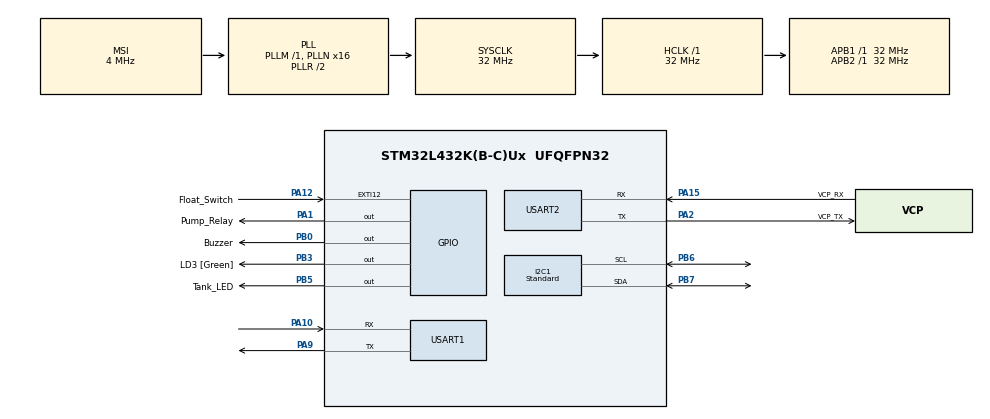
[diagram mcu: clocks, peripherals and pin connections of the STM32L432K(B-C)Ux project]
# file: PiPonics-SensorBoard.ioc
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Mcu.Family=STM32L4
VP_SYS_VS_tim6.Mode=TIM6
RCC.CortexFreq_Value=32000000
FREERTOS.BinarySemaphores01=UARTSemaphore,Dynamic,NULL;overflowSemaphore,Dynamic,NULL;I2CSemaphore,Dynamic,NULL
NVIC.DMA1_Channel5_IRQn=true\:6\:0\:true\:false\:true\:true\:false\:true
NVIC.I2C1_EV_IRQn=true\:8\:0\:true\:false\:true\:true\:true\:true
I2C1.I2C_Speed_Mode=I2C_Standard
Dma.USART1_TX.1.MemInc=DMA_MINC_ENABLE
NVIC.TIM6_DAC_IRQn=true\:0\:0\:false\:false\:true\:false\:false\:true
PA0.GPIO_Label=MCO [High speed clock in]
PB0.GPIO_Label=Buzzer
PA15\ (JTDI).Signal=USART2_RX
PC15-OSC32_OUT\ (PC15).Mode=LSE-External-Oscillator
RCC.SYSCLKSource=RCC_SYSCLKSOURCE_PLLCLK
ProjectManager.StackSize=0x400
PB3\ (JTDO-TRACESWO).Signal=GPIO_Output
PC14-OSC32_IN\ (PC14).Mode=LSE-External-Oscillator
VP_FREERTOS_VS_CMSIS_V2.Mode=CMSIS_V2
PA14\ (JTCK-SWCLK).Signal=SYS_JTCK-SWCLK
FREERTOS.configENABLE_FPU=1
PA15\ (JTDI).Mode=Asynchronous
PA12.Signal=GPXTI12
RCC.HCLKFreq_Value=32000000
RCC.APB2TimFreq_Value=32000000
PB6.Signal=I2C1_SCL
PB6.Mode=I2C
RCC.AHBFreq_Value=32000000
Dma.USART1_RX.0.Priority=DMA_PRIORITY_LOW
NVIC.EXTI15_10_IRQn=true\:5\:0\:false\:false\:true\:true\:true\:true
RCC.HSE_VALUE=8000000
USART2.VirtualMode-Asynchronous=VM_ASYNC
RCC.PLLMUL=RCC_PLLMUL_4
PA0.Mode=HSE-External-Clock-Source-for-LittleOrca
PB7.Signal=I2C1_SDA
Dma.USART1_RX.0.MemInc=DMA_MINC_ENABLE
NVIC.I2C1_ER_IRQn=true\:5\:0\:false\:false\:true\:true\:true\:true
FREERTOS.configTOTAL_HEAP_SIZE=6000
Dma.USART1_TX.1.PeriphDataAlignment=DMA_PDATAALIGN_BYTE
PA0.Signal=RCC_CK_IN
Mcu.Package=UFQFPN32
NVIC.TimeBase=TIM6_DAC_IRQn
PA2.GPIO_Label=VCP_TX
NVIC.TimeBaseIP=TIM6
PA10.Signal=USART1_RX
PB5.GPIO_Label=Tank_LED
Dma.Request1=USART1_TX
RCC.APB1TimFreq_Value=32000000
Dma.USART1_RX.0.Mode=DMA_NORMAL
Dma.USART1_TX.1.Priority=DMA_PRIORITY_LOW
NVIC.DMA1_Channel4_IRQn=true\:7\:0\:true\:false\:true\:true\:false\:true
PA13\ (JTMS-SWDIO).Signal=SYS_JTMS-SWDIO
NVIC.USART1_IRQn=true\:6\:0\:true\:false\:true\:true\:true\:true
PA12.GPIO_PuPd=GPIO_PULLUP
Dma.Request0=USART1_RX
Dma.USART1_RX.0.Instance=DMA1_Channel5
RCC.HSI48_VALUE=48000000
Dma.USART1_TX.1.Direction=DMA_MEMORY_TO_PERIPH
RCC.MSI_VALUE=4000000
PA14\ (JTCK-SWCLK).Mode=Serial_Wire
Dma.USART1_TX.1.Instance=DMA1_Channel4
FREERTOS.Tasks01=defaultTask,8,128,StartDefaultTask,Default,NULL,Dynamic,NULL,NULL;receiveUART,24,512,StartReceiveUART,Default,NULL,Dynamic,NULL,NULL;detectOverflow,40,128,StartDetectOverflow,Default,NULL,Dynamic,NULL,NULL
Dma.USART1_RX.0.PeriphDataAlignment=DMA_PDATAALIGN_BYTE
PA10.Mode=Asynchronous
PC15-OSC32_OUT\ (PC15).Signal=RCC_OSC32_OUT
PA14\ (JTCK-SWCLK).GPIO_Label=SWCLK
PB3\ (JTDO-TRACESWO).GPIO_Label=LD3 [Green]
PA12.GPIO_Label=Float_Switch
USART1.VirtualMode-Asynchronous=VM_ASYNC
RCC.HSI16_VALUE=16000000
PA9.Mode=Asynchronous
ProjectManager.TargetToolchain=STM32CubeIDE
Dma.USART1_RX.0.Direction=DMA_PERIPH_TO_MEMORY
PA9.Signal=USART1_TX
I2C1.Timing=0x00707CBB
PA1.Signal=GPIO_Output
Dma.USART1_RX.0.PeriphInc=DMA_PINC_DISABLE
Dma.USART1_TX.1.MemDataAlignment=DMA_MDATAALIGN_BYTE
board=NUCLEO-L432KC
RCC.VCOOutputFreq_Value=64000000
RCC.APB2Freq_Value=32000000
PA13\ (JTMS-SWDIO).GPIO_Label=SWDIO
PA1.GPIO_Label=Pump_Relay
Dma.USART1_RX.0.MemDataAlignment=DMA_MDATAALIGN_BYTE
PA15\ (JTDI).GPIO_Label=VCP_RX
Mcu.Name=STM32L432K(B-C)Ux
PA2.Signal=USART2_TX
PA13\ (JTMS-SWDIO).Mode=Serial_Wire
RCC.SYSCLKFreq_VALUE=32000000
PB5.Signal=GPIO_Output
PC14-OSC32_IN\ (PC14).Signal=RCC_OSC32_IN
Dma.USART1_TX.1.Mode=DMA_NORMAL
PB7.Mode=I2C
ProjectManager.HeapSize=0x200
Dma.USART1_TX.1.PeriphInc=DMA_PINC_DISABLE
RCC.HSI_VALUE=16000000
NVIC.PriorityGroup=NVIC_PRIORITYGROUP_4
RCC.PLLN=16
PA2.Mode=Asynchronous
RCC.APB1Freq_Value=32000000
PB0.Signal=GPIO_Output

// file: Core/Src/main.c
/* USER CODE BEGIN Header */
/**
  ******************************************************************************
  * @file           : main.c
  * @brief          : Main program body
  ******************************************************************************
  * @attention
  *
  * <h2><center>&copy; Copyright (c) 2021 STMicroelectronics.
  * All rights reserved.</center></h2>
  *
  * This software component is licensed by ST under BSD 3-Clause license,
  * the "License"; You may not use this file except in compliance with the
  * License. You may obtain a copy of the License at:
  *                        opensource.org/licenses/BSD-3-Clause
  *
  ******************************************************************************
  */
/* USER CODE END Header */
#include "main.h"
#include "cmsis_os.h"

/* USER CODE BEGIN Includes */
#include <stdio.h>
#include <string.h>

#include "ezo_sensor.h"

/* USER CODE END Includes */

/* USER CODE BEGIN PD */

#ifdef __GNUC__
#define PUTCHAR_PROTOTYPE int __io_putchar(int ch)
#else
#define PUTCHAR_PROTOTYPE int fputc(int ch, FILE *f)
#endif /* __GNUC__ */
// Pi UART
#define PI_UART_BUFFER_SZ		(uint8_t) 6
#define CMD_IDX					(uint8_t) 0
#define ITEM_IDX				(uint8_t) 1
#define PAYLOAD_START_IDX		(uint8_t) 2		// payload is 4 bytes
// Buzzer
#define BUZZER_DELAY_MS			5000U
#define BUZZER_ON_MS			250U

/* USER CODE END PD */

I2C_HandleTypeDef hi2c1;

UART_HandleTypeDef huart1;
UART_HandleTypeDef huart2;
DMA_HandleTypeDef hdma_usart1_rx;
DMA_HandleTypeDef hdma_usart1_tx;

/* Definitions for defaultTask */
osThreadId_t defaultTaskHandle;
const osThreadAttr_t defaultTask_attributes = {
  .name = "defaultTask",
  .stack_size = 128 * 4,
  .priority = (osPriority_t) osPriorityLow,
};
/* Definitions for receiveUART */
osThreadId_t receiveUARTHandle;
const osThreadAttr_t receiveUART_attributes = {
  .name = "receiveUART",
  .stack_size = 512 * 4,
  .priority = (osPriority_t) osPriorityNormal,
};
/* Definitions for detectOverflow */
osThreadId_t detectOverflowHandle;
const osThreadAttr_t detectOverflow_attributes = {
  .name = "detectOverflow",
  .stack_size = 128 * 4,
  .priority = (osPriority_t) osPriorityHigh,
};
/* Definitions for UARTSemaphore */
osSemaphoreId_t UARTSemaphoreHandle;
const osSemaphoreAttr_t UARTSemaphore_attributes = {
  .name = "UARTSemaphore"
};
/* Definitions for overflowSemaphore */
osSemaphoreId_t overflowSemaphoreHandle;
const osSemaphoreAttr_t overflowSemaphore_attributes = {
  .name = "overflowSemaphore"
};
/* Definitions for I2CSemaphore */
osSemaphoreId_t I2CSemaphoreHandle;
const osSemaphoreAttr_t I2CSemaphore_attributes = {
  .name = "I2CSemaphore"
};
/* USER CODE BEGIN PV */

// UART buffer for communication w/ Raspberry Pi
uint8_t piUartBuffer[PI_UART_BUFFER_SZ];

enum piCmds {
	Echo	= 0xF0,
	Drive	= 0x0F,
	Read	= 0x88
} piCmd;

typedef enum {
	TankLights			= 0,
	GrowBedWaterPump	= 1,
	// test case
	Ret0				= 0xFF,
	Ret1				= 0xFE
} Actuator;

typedef enum {
	TankTemp			= 0,
	GrowBedWaterLevel	= 1,
	// test case
	RetPi				= 0xFF
} Sensor;

/* USER CODE END PV */

void SystemClock_Config(void);
static void MX_GPIO_Init(void);
static void MX_DMA_Init(void);
static void MX_USART2_UART_Init(void);
static void MX_USART1_UART_Init(void);
static void MX_I2C1_Init(void);
void StartDefaultTask(void *argument);
void StartReceiveUART(void *argument);
void StartDetectOverflow(void *argument);

int main(void)
{

  /* MCU Configuration--------------------------------------------------------*/

  /* Reset of all peripherals, Initializes the Flash interface and the Systick. */
  HAL_Init();

  /* Configure the system clock */
  SystemClock_Config();

  /* Initialize all configured peripherals */
  MX_GPIO_Init();
  MX_DMA_Init();
  MX_USART2_UART_Init();
  MX_USART1_UART_Init();
  MX_I2C1_Init();
  /* USER CODE BEGIN 2 */
  printf("START\n\r");

  // Pi UART Rx DMA init
  if (HAL_UART_Receive_DMA(&huart1, &piUartBuffer[0], PI_UART_BUFFER_SZ) != HAL_OK) {
	Error_Handler();
  }

  /* USER CODE END 2 */

  /* Init scheduler */
  osKernelInitialize();

  /* Create the semaphores(s) */
  /* creation of UARTSemaphore */
  UARTSemaphoreHandle = osSemaphoreNew(1, 1, &UARTSemaphore_attributes);

  /* creation of overflowSemaphore */
  overflowSemaphoreHandle = osSemaphoreNew(1, 1, &overflowSemaphore_attributes);

  /* creation of I2CSemaphore */
  I2CSemaphoreHandle = osSemaphoreNew(1, 1, &I2CSemaphore_attributes);

  /* USER CODE BEGIN RTOS_SEMAPHORES */
  /* add semaphores, ... */
  osSemaphoreAcquire(UARTSemaphoreHandle, 0);
  osSemaphoreAcquire(overflowSemaphoreHandle, 0);
  osSemaphoreAcquire(I2CSemaphoreHandle, 0);
  /* USER CODE END RTOS_SEMAPHORES */

  /* Create the thread(s) */
  /* creation of defaultTask */
  defaultTaskHandle = osThreadNew(StartDefaultTask, NULL, &defaultTask_attributes);

  /* creation of receiveUART */
  receiveUARTHandle = osThreadNew(StartReceiveUART, NULL, &receiveUART_attributes);

  /* creation of detectOverflow */
  detectOverflowHandle = osThreadNew(StartDetectOverflow, NULL, &detectOverflow_attributes);

  /* Start scheduler */
  osKernelStart();

  /* We should never get here as control is now taken by the scheduler */
  /* Infinite loop */
  while (1)
  {

  }
}

void SystemClock_Config(void)
{
  RCC_OscInitTypeDef RCC_OscInitStruct = {0};
  RCC_ClkInitTypeDef RCC_ClkInitStruct = {0};
  RCC_PeriphCLKInitTypeDef PeriphClkInit = {0};

  /** Configure LSE Drive Capability
  */
  HAL_PWR_EnableBkUpAccess();
  __HAL_RCC_LSEDRIVE_CONFIG(RCC_LSEDRIVE_LOW);
  /** Initializes the RCC Oscillators according to the specified parameters
  * in the RCC_OscInitTypeDef structure.
  */
  RCC_OscInitStruct.OscillatorType = RCC_OSCILLATORTYPE_LSE|RCC_OSCILLATORTYPE_MSI;
  RCC_OscInitStruct.LSEState = RCC_LSE_ON;
  RCC_OscInitStruct.MSIState = RCC_MSI_ON;
  RCC_OscInitStruct.MSICalibrationValue = 0;
  RCC_OscInitStruct.MSIClockRange = RCC_MSIRANGE_6;
  RCC_OscInitStruct.PLL.PLLState = RCC_PLL_ON;
  RCC_OscInitStruct.PLL.PLLSource = RCC_PLLSOURCE_MSI;
  RCC_OscInitStruct.PLL.PLLM = 1;
  RCC_OscInitStruct.PLL.PLLN = 16;
  RCC_OscInitStruct.PLL.PLLP = RCC_PLLP_DIV7;
  RCC_OscInitStruct.PLL.PLLQ = RCC_PLLQ_DIV2;
  RCC_OscInitStruct.PLL.PLLR = RCC_PLLR_DIV2;
  if (HAL_RCC_OscConfig(&RCC_OscInitStruct) != HAL_OK)
  {
    Error_Handler();
  }
  /** Initializes the CPU, AHB and APB buses clocks
  */
  RCC_ClkInitStruct.ClockType = RCC_CLOCKTYPE_HCLK|RCC_CLOCKTYPE_SYSCLK
                              |RCC_CLOCKTYPE_PCLK1|RCC_CLOCKTYPE_PCLK2;
  RCC_ClkInitStruct.SYSCLKSource = RCC_SYSCLKSOURCE_PLLCLK;
  RCC_ClkInitStruct.AHBCLKDivider = RCC_SYSCLK_DIV1;
  RCC_ClkInitStruct.APB1CLKDivider = RCC_HCLK_DIV1;
  RCC_ClkInitStruct.APB2CLKDivider = RCC_HCLK_DIV1;

  if (HAL_RCC_ClockConfig(&RCC_ClkInitStruct, FLASH_LATENCY_1) != HAL_OK)
  {
    Error_Handler();
  }
  PeriphClkInit.PeriphClockSelection = RCC_PERIPHCLK_USART1|RCC_PERIPHCLK_USART2
                              |RCC_PERIPHCLK_I2C1;
  PeriphClkInit.Usart1ClockSelection = RCC_USART1CLKSOURCE_PCLK2;
  PeriphClkInit.Usart2ClockSelection = RCC_USART2CLKSOURCE_PCLK1;
  PeriphClkInit.I2c1ClockSelection = RCC_I2C1CLKSOURCE_PCLK1;
  if (HAL_RCCEx_PeriphCLKConfig(&PeriphClkInit) != HAL_OK)
  {
    Error_Handler();
  }
  /** Configure the main internal regulator output voltage
  */
  if (HAL_PWREx_ControlVoltageScaling(PWR_REGULATOR_VOLTAGE_SCALE1) != HAL_OK)
  {
    Error_Handler();
  }
  /** Enable MSI Auto calibration
  */
  HAL_RCCEx_EnableMSIPLLMode();
}

static void MX_I2C1_Init(void)
{

  hi2c1.Instance = I2C1;
  hi2c1.Init.Timing = 0x00707CBB;
  hi2c1.Init.OwnAddress1 = 0;
  hi2c1.Init.AddressingMode = I2C_ADDRESSINGMODE_7BIT;
  hi2c1.Init.DualAddressMode = I2C_DUALADDRESS_DISABLE;
  hi2c1.Init.OwnAddress2 = 0;
  hi2c1.Init.OwnAddress2Masks = I2C_OA2_NOMASK;
  hi2c1.Init.GeneralCallMode = I2C_GENERALCALL_DISABLE;
  hi2c1.Init.NoStretchMode = I2C_NOSTRETCH_DISABLE;
  if (HAL_I2C_Init(&hi2c1) != HAL_OK)
  {
    Error_Handler();
  }
  /** Configure Analogue filter
  */
  if (HAL_I2CEx_ConfigAnalogFilter(&hi2c1, I2C_ANALOGFILTER_ENABLE) != HAL_OK)
  {
    Error_Handler();
  }
  /** Configure Digital filter
  */
  if (HAL_I2CEx_ConfigDigitalFilter(&hi2c1, 0) != HAL_OK)
  {
    Error_Handler();
  }

}

static void MX_USART1_UART_Init(void)
{

  huart1.Instance = USART1;
  huart1.Init.BaudRate = 115200;
  huart1.Init.WordLength = UART_WORDLENGTH_8B;
  huart1.Init.StopBits = UART_STOPBITS_1;
  huart1.Init.Parity = UART_PARITY_NONE;
  huart1.Init.Mode = UART_MODE_TX_RX;
  huart1.Init.HwFlowCtl = UART_HWCONTROL_NONE;
  huart1.Init.OverSampling = UART_OVERSAMPLING_16;
  huart1.Init.OneBitSampling = UART_ONE_BIT_SAMPLE_DISABLE;
  huart1.AdvancedInit.AdvFeatureInit = UART_ADVFEATURE_NO_INIT;
  if (HAL_UART_Init(&huart1) != HAL_OK)
  {
    Error_Handler();
  }

}

static void MX_USART2_UART_Init(void)
{

  huart2.Instance = USART2;
  huart2.Init.BaudRate = 115200;
  huart2.Init.WordLength = UART_WORDLENGTH_8B;
  huart2.Init.StopBits = UART_STOPBITS_1;
  huart2.Init.Parity = UART_PARITY_NONE;
  huart2.Init.Mode = UART_MODE_TX_RX;
  huart2.Init.HwFlowCtl = UART_HWCONTROL_NONE;
  huart2.Init.OverSampling = UART_OVERSAMPLING_16;
  huart2.Init.OneBitSampling = UART_ONE_BIT_SAMPLE_DISABLE;
  huart2.AdvancedInit.AdvFeatureInit = UART_ADVFEATURE_NO_INIT;
  if (HAL_UART_Init(&huart2) != HAL_OK)
  {
    Error_Handler();
  }

}

static void MX_DMA_Init(void)
{

  /* DMA controller clock enable */
  __HAL_RCC_DMA1_CLK_ENABLE();

  /* DMA interrupt init */
  /* DMA1_Channel4_IRQn interrupt configuration */
  HAL_NVIC_SetPriority(DMA1_Channel4_IRQn, 7, 0);
  HAL_NVIC_EnableIRQ(DMA1_Channel4_IRQn);
  /* DMA1_Channel5_IRQn interrupt configuration */
  HAL_NVIC_SetPriority(DMA1_Channel5_IRQn, 6, 0);
  HAL_NVIC_EnableIRQ(DMA1_Channel5_IRQn);

}

static void MX_GPIO_Init(void)
{
  GPIO_InitTypeDef GPIO_InitStruct = {0};

  /* GPIO Ports Clock Enable */
  __HAL_RCC_GPIOC_CLK_ENABLE();
  __HAL_RCC_GPIOA_CLK_ENABLE();
  __HAL_RCC_GPIOB_CLK_ENABLE();

  /*Configure GPIO pin Output Level */
  HAL_GPIO_WritePin(Pump_Relay_GPIO_Port, Pump_Relay_Pin, GPIO_PIN_RESET);

  /*Configure GPIO pin Output Level */
  HAL_GPIO_WritePin(GPIOB, Buzzer_Pin|LD3_Pin|Tank_LED_Pin, GPIO_PIN_RESET);

  /*Configure GPIO pin : Pump_Relay_Pin */
  GPIO_InitStruct.Pin = Pump_Relay_Pin;
  GPIO_InitStruct.Mode = GPIO_MODE_OUTPUT_PP;
  GPIO_InitStruct.Pull = GPIO_NOPULL;
  GPIO_InitStruct.Speed = GPIO_SPEED_FREQ_LOW;
  HAL_GPIO_Init(Pump_Relay_GPIO_Port, &GPIO_InitStruct);

  /*Configure GPIO pins : Buzzer_Pin LD3_Pin Tank_LED_Pin */
  GPIO_InitStruct.Pin = Buzzer_Pin|LD3_Pin|Tank_LED_Pin;
  GPIO_InitStruct.Mode = GPIO_MODE_OUTPUT_PP;
  GPIO_InitStruct.Pull = GPIO_NOPULL;
  GPIO_InitStruct.Speed = GPIO_SPEED_FREQ_LOW;
  HAL_GPIO_Init(GPIOB, &GPIO_InitStruct);

  /*Configure GPIO pin : Float_Switch_Pin */
  GPIO_InitStruct.Pin = Float_Switch_Pin;
  GPIO_InitStruct.Mode = GPIO_MODE_IT_RISING;
  GPIO_InitStruct.Pull = GPIO_PULLUP;
  HAL_GPIO_Init(Float_Switch_GPIO_Port, &GPIO_InitStruct);

  /* EXTI interrupt init*/
  HAL_NVIC_SetPriority(EXTI15_10_IRQn, 5, 0);
  HAL_NVIC_EnableIRQ(EXTI15_10_IRQn);

}

/* USER CODE BEGIN 4 */

PUTCHAR_PROTOTYPE
{
	/* write a character to the USART2 and Loop until the end of transmission */
	HAL_UART_Transmit(&huart2, (uint8_t *)&ch, 1, 1);
	return ch;
}

/* Pi UART Callback */
void HAL_UART_RxCpltCallback(UART_HandleTypeDef *huart) {
	if (huart->Instance == USART1) {
		osSemaphoreRelease(UARTSemaphoreHandle);
	}
}

/* Float Switch Callback */
void HAL_GPIO_EXTI_Callback(uint16_t GPIO_Pin) {
	if (GPIO_Pin == Float_Switch_Pin) {
		osSemaphoreRelease(overflowSemaphoreHandle);
	}
}

void HAL_I2C_MasterRxCpltCallback(I2C_HandleTypeDef *hi2c) {
	if (hi2c->Instance == I2C1) {
		osSemaphoreRelease(I2CSemaphoreHandle);
	}
}
void HAL_I2C_ErrorCallback(I2C_HandleTypeDef *hi2c) {
	if (hi2c->ErrorCode == HAL_I2C_ERROR_AF) {
		printf("I2C AF err\r\n");
	}
}

void turnOnWaterPump() {
	HAL_GPIO_WritePin(Pump_Relay_GPIO_Port, Pump_Relay_Pin, GPIO_PIN_SET);
}
void turnOffWaterPump() {
	HAL_GPIO_WritePin(Pump_Relay_GPIO_Port, Pump_Relay_Pin, GPIO_PIN_RESET);
}
void turnOnTankLights() {
	HAL_GPIO_WritePin(Tank_LED_GPIO_Port, Tank_LED_Pin, GPIO_PIN_SET);
}
void turnOffTankLights() {
	HAL_GPIO_WritePin(Tank_LED_GPIO_Port, Tank_LED_Pin, GPIO_PIN_RESET);
}
void turnOnBuzzer() {
	HAL_GPIO_WritePin(Buzzer_GPIO_Port, Buzzer_Pin, GPIO_PIN_SET);
}
void turnOffBuzzer() {
	HAL_GPIO_WritePin(Buzzer_GPIO_Port, Buzzer_Pin, GPIO_PIN_RESET);
}

uint32_t driveActuator(Actuator actuator, uint32_t driveVal) {
	printf("id:  %d\n\r", (int)actuator);
	printf("val: %d\n\r", (int)driveVal);
	uint32_t retVal;

	switch(actuator) {

	case TankLights:			// actuator: sys1.tank1_lights
		(driveVal > 0) ? turnOnTankLights() : turnOffTankLights();
		retVal = 0;
		break;

	case GrowBedWaterPump:		// actuator: sys1.growbed1_waterpump
		(driveVal > 0) ? turnOnWaterPump() : turnOffWaterPump();
		retVal = 0;
		break;

	case Ret0:		// test case: return 0
		retVal = 0;
		break;

	case Ret1:		// test case: return 1
		retVal = 1;
		break;

	default:
		retVal = 0xFFFFFFFF;
		break;
	}
	printf("ret: %d\n\r", (int)retVal);
	return retVal;
}

/* Return a sensor reading from a provided sensor ID */
float getReading(Sensor sensor) {
	printf("id:  %d\n\r", (int) sensor);
	float retVal;

	switch(sensor) {

	case TankTemp:;
		// request reading from EZO RTD sensor over I2C
		HAL_I2C_Master_Transmit_IT(&hi2c1, RTD_I2C_ADDR_DEFAULT<<1, (uint8_t*)RTD_I2C_Cmd_Read, sizeof(RTD_I2C_Cmd_Read));
		// delay for EZO RTD processing
		osDelay(RTD_I2C_LONG_DELAY_MS);
		// start I2C Rx interrupt
		HAL_I2C_Master_Receive_IT(&hi2c1, RTD_I2C_ADDR_DEFAULT<<1, &RTD_I2C_resBuf[0], RTD_I2C_BUFFER_MAX_SZ);
		// semaphore released when response is received; should be instantaneous due to proc delay
		osSemaphoreAcquire(I2CSemaphoreHandle, 10);
		// get temp reading as float
		retVal = (float)getRTDReading(RTD_I2C_resBuf);
		// reset I2C buffer
		memset(&RTD_I2C_resBuf[0], '\0', RTD_I2C_BUFFER_MAX_SZ);
		break;

	case RetPi:	// test case: return pi (3.14)
		retVal = 3.14;
		break;

	default:
		retVal = 0xFFFFFFFF;
		break;
	}
	printf("ret: %f\n\r", retVal);
	return retVal;
}

/* USER CODE END 4 */

void StartDefaultTask(void *argument)
{
  /* USER CODE BEGIN 5 */
	//printf("%d", uxTaskGetStackHighWaterMark( NULL ));
  /* Infinite loop */
	for(;;)
	{
		//HAL_GPIO_TogglePin(GPIOB, GPIO_PIN_3);
		osDelay(1);
	}
  /* USER CODE END 5 */
}

void StartReceiveUART(void *argument)
{
  /* USER CODE BEGIN StartReceiveUART */
  /* Infinite loop */
	for(;;)
	{
		osSemaphoreAcquire(UARTSemaphoreHandle, osWaitForever);	// wait for UART frame

		uint8_t retBuffer[PI_UART_BUFFER_SZ] = {
				piUartBuffer[CMD_IDX],			// copy command byte
				piUartBuffer[ITEM_IDX]			// copy sensor/actuator id byte
		};

		piCmd = piUartBuffer[CMD_IDX];
		switch(piCmd) {

		case Echo :
			printf("ECHO\n\r");
			// copy input val to output
			memcpy(&retBuffer[PAYLOAD_START_IDX], &piUartBuffer[PAYLOAD_START_IDX], sizeof(uint32_t));
			break;

		case Drive :
			printf("DRIVE\n\r");
			// get drive val
			uint32_t driveVal;
			memcpy(&driveVal, &piUartBuffer[PAYLOAD_START_IDX], sizeof(uint32_t));	// note: relies on little-endian repr.
			// drive actuator w/ drive val, get return val
			uint32_t retVal = driveActuator(piUartBuffer[ITEM_IDX], driveVal);
			// assign actuator return val to output buffer
			memcpy(&retBuffer[PAYLOAD_START_IDX], &retVal, sizeof(uint32_t));
			break;

		case Read :
			printf("READ\n\r");
			// get reading as return val
			float reading = getReading(piUartBuffer[ITEM_IDX]);
			// assign sensor reading to output buffer
			memcpy(&retBuffer[PAYLOAD_START_IDX], &reading, sizeof(float));			// relies on little-endian repr.
			break;

		default:
			printf("UNKNOWN CMD: %d\n\r", piCmd);
			break;
		}
		// transmit response frame to pi
		if (HAL_UART_Transmit_DMA(&huart1, &retBuffer[0], PI_UART_BUFFER_SZ) != HAL_OK) {
			Error_Handler();
		}
		// UART ready again
		if (HAL_UART_Receive_DMA(&huart1, &piUartBuffer[0], PI_UART_BUFFER_SZ) != HAL_OK) {
			Error_Handler();
		}
  }
  /* USER CODE END StartReceiveUART */
}

void StartDetectOverflow(void *argument)
{
  /* USER CODE BEGIN StartDetectOverflow */
  /* Infinite loop */
	for(;;)
	{
		osSemaphoreAcquire(overflowSemaphoreHandle, osWaitForever);	// wait for emergency detect trigger

		// Float switch triggered (grow bed overflow)
		turnOffWaterPump();
		// infinite loop: sound buzzer. Stop by resetting MCU
		while (1) {
			printf("OVERFLOW\n\r");
			turnOnBuzzer();
			osDelay(BUZZER_ON_MS);		// depends on 1000 Hz RTOS tick rate
			turnOffBuzzer();
			osDelay(BUZZER_DELAY_MS);
		}
	}
  /* USER CODE END StartDetectOverflow */
}

 /**
  * @brief  Period elapsed callback in non blocking mode
  * @note   This function is called  when TIM6 interrupt took place, inside
  * HAL_TIM_IRQHandler(). It makes a direct call to HAL_IncTick() to increment
  * a global variable "uwTick" used as application time base.
  * @param  htim : TIM handle
  * @retval None
  */
void HAL_TIM_PeriodElapsedCallback(TIM_HandleTypeDef *htim)
{
  if (htim->Instance == TIM6) {
    HAL_IncTick();
  }
}

void Error_Handler(void)
{
  /* USER CODE BEGIN Error_Handler_Debug */
  /* User can add his own implementation to report the HAL error return state */
  __disable_irq();
  printf("Error\n\r");

  while (1)
  {

	  for (int i=0; i<3; i++) {
		  HAL_GPIO_WritePin(LD3_GPIO_Port, LD3_Pin, GPIO_PIN_SET);
		  HAL_Delay(250);
		  HAL_GPIO_WritePin(LD3_GPIO_Port, LD3_Pin, GPIO_PIN_RESET);
		  HAL_Delay(250);
	  }
	  HAL_Delay(2000);

	  /*
	  HAL_GPIO_WritePin(GPIOB, GPIO_PIN_3, GPIO_PIN_SET);
	  HAL_Delay(1000);
	  HAL_GPIO_WritePin(GPIOB, GPIO_PIN_3, GPIO_PIN_RESET);
	  HAL_Delay(1000);
	  */
  }
  /* USER CODE END Error_Handler_Debug */
}

/************************ (C) COPYRIGHT STMicroelectronics *****END OF FILE****/
